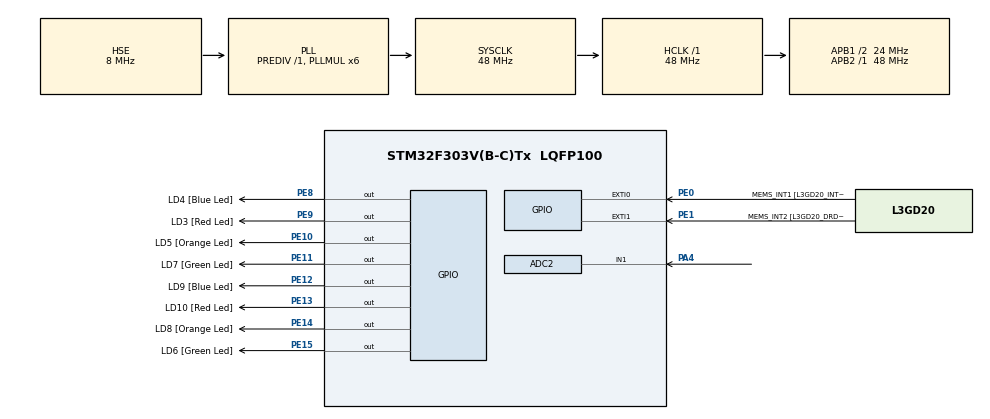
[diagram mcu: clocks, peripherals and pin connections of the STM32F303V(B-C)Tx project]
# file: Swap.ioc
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ADC2.Channel-0\#ChannelRegularConversion=ADC_CHANNEL_1
ADC2.NbrOfConversion=1
ADC2.NbrOfConversionFlag=1
ADC2.Offset-0\#ChannelRegularConversion=0
ADC2.OffsetNumber-0\#ChannelRegularConversion=ADC_OFFSET_NONE
ADC2.Rank-0\#ChannelRegularConversion=1
ADC2.SamplingTime-0\#ChannelRegularConversion=ADC_SAMPLETIME_1CYCLE_5
ADC2.SamplingTimeOPAMP-0\#ChannelRegularConversion=ADC_SAMPLETIME_19CYCLES_5
Mcu.Family=STM32F3
Mcu.Name=STM32F303V(B-C)Tx
Mcu.Package=LQFP100
NVIC.ADC1_2_IRQn=true\:0\:0\:false\:false\:true\:true\:true\:true
NVIC.PriorityGroup=NVIC_PRIORITYGROUP_0
PA4.Mode=IN1-Single-Ended
PA4.Signal=ADC2_IN1
PB3.GPIO_Label=SWO
PB3.Signal=SYS_JTDO-TRACESWO
PB6.GPIO_Label=I2C1_SCL [LSM303DLHC_SCL]
PB6.GPIO_Pu=GPIO_PULLUP
PB6.Signal=I2C1_SCL
PB7.GPIO_Label=I2C1_SDA [LSM303DLHC_SDA]
PB7.GPIO_Pu=GPIO_PULLUP
PB7.Signal=I2C1_SDA
PC14-OSC32_IN.GPIO_Label=OSC32_IN
PC14-OSC32_IN.Signal=RCC_OSC32_IN
PC15-OSC32_OUT.GPIO_Label=OSC32_OUT
PC15-OSC32_OUT.Signal=RCC_OSC32_OUT
PE0.GPIO_Label=MEMS_INT1 [L3GD20_INT1]
PE0.GPIO_ModeDefaultEXTI=GPIO_MODE_EVT_RISING
PE0.Signal=GPXTI0
PE1.GPIO_Label=MEMS_INT2 [L3GD20_DRDY/INT2]
PE1.GPIO_ModeDefaultEXTI=GPIO_MODE_EVT_RISING
PE1.Signal=GPXTI1
PE10.GPIO_Label=LD5 [Orange Led]
PE10.Signal=GPIO_Output
PE11.GPIO_Label=LD7 [Green Led]
PE11.Signal=GPIO_Output
PE12.GPIO_Label=LD9 [Blue Led]
PE12.Signal=GPIO_Output
PE13.GPIO_Label=LD10 [Red Led]
PE13.Signal=GPIO_Output
PE14.GPIO_Label=LD8 [Orange Led]
PE14.Signal=GPIO_Output
PE15.GPIO_Label=LD6 [Green Led]
PE15.Signal=GPIO_Output
PE8.GPIO_Label=LD4 [Blue Led]
PE8.Signal=GPIO_Output
PE9.GPIO_Label=LD3 [Red Led]
PE9.Signal=GPIO_Output
PF0-OSC_IN.GPIO_Label=OSC_IN
PF0-OSC_IN.Mode=HSE-External-Oscillator
PF0-OSC_IN.Signal=RCC_OSC_IN
PF1-OSC_OUT.GPIO_Label=OSC_OUT
PF1-OSC_OUT.Mode=HSE-External-Oscillator
PF1-OSC_OUT.Signal=RCC_OSC_OUT
ProjectManager.HeapSize=0x200
ProjectManager.StackSize=0x400
ProjectManager.TargetToolchain=STM32CubeIDE
RCC.AHBFreq_Value=48000000
RCC.APB1CLKDivider=RCC_HCLK_DIV2
RCC.APB1Freq_Value=24000000
RCC.APB1TimFreq_Value=48000000
RCC.APB2Freq_Value=48000000
RCC.APB2TimFreq_Value=48000000
RCC.CortexFreq_Value=48000000
RCC.HCLKFreq_Value=48000000
RCC.HSE_VALUE=8000000
RCC.HSI_VALUE=8000000
RCC.LSE_VALUE=32768
RCC.PLLMUL=RCC_PLL_MUL6
RCC.PLLSourceVirtual=RCC_PLLSOURCE_HSE
RCC.SYSCLKFreq_VALUE=48000000
RCC.SYSCLKSourceVirtual=RCC_SYSCLKSOURCE_PLLCLK
RCC.USBFreq_Value=48000000
board=STM32F3DISCOVERY

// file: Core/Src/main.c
/* USER CODE BEGIN Header */
/**
  ******************************************************************************
  * @file           : main.c
  * @brief          : Main program body
  ******************************************************************************
  * @attention
  *
  * Copyright (c) 2023 STMicroelectronics.
  * All rights reserved.
  *
  * This software is licensed under terms that can be found in the LICENSE file
  * in the root directory of this software component.
  * If no LICENSE file comes with this software, it is provided AS-IS.
  *
  ******************************************************************************
  */
/* USER CODE END Header */
#include "main.h"
#include "stdio.h"
#include <stdlib.h>
#include "serial.h"
#include "data_handler.h"
#include "led.h"

ADC_HandleTypeDef hadc2;

/* USER CODE BEGIN PV */
uint32_t weight;
uint8_t ra = 0;
uint8_t check = 0;
uint8_t fail = 0;

uint8_t string[100];

/* USER CODE END PV */

void SystemClock_Config(void);
static void MX_GPIO_Init(void);
static void MX_ADC2_Init(void);

int main(void)
{

  /* MCU Configuration--------------------------------------------------------*/

  /* Reset of all peripherals, Initializes the Flash interface and the Systick. */
  HAL_Init();

  /* USER CODE BEGIN Init */
  SerialInitialise(BAUD_115200, &USART1_PORT, 0x00);
  //enable_interrupts_RX();
  /* USER CODE END Init */

  /* Configure the system clock */
  SystemClock_Config();

  /* Initialize all configured peripherals */
  MX_GPIO_Init();
  MX_ADC2_Init();
  /* USER CODE BEGIN 2 */
  HAL_ADC_Start_IT(&hadc2);
  uint8_t *led_register = ((uint8_t*)&(GPIOE->ODR)) + 1;
  *led_register = 0b00000000;
  /* USER CODE END 2 */

  /* Infinite loop */
  while (1)
  {

    /* USER CODE BEGIN 3 */
	  //void disable_interrupts_RX();
	  if (check > 0)
	  {
	  		  HAL_Delay(1000);
	  }

	  if (fail == 0)
	  {
		  HAL_ADC_Start_IT(&hadc2);
	  }
	  if (fail == 1){
		  sprintf(string,"AA5520!");
		  SerialOutputString(string, &USART1_PORT);

	  }

  }
  /* USER CODE END 3 */
}

void SystemClock_Config(void)
{
  RCC_OscInitTypeDef RCC_OscInitStruct = {0};
  RCC_ClkInitTypeDef RCC_ClkInitStruct = {0};
  RCC_PeriphCLKInitTypeDef PeriphClkInit = {0};

  /** Initializes the RCC Oscillators according to the specified parameters
  * in the RCC_OscInitTypeDef structure.
  */
  RCC_OscInitStruct.OscillatorType = RCC_OSCILLATORTYPE_HSE;
  RCC_OscInitStruct.HSEState = RCC_HSE_ON;
  RCC_OscInitStruct.HSEPredivValue = RCC_HSE_PREDIV_DIV1;
  RCC_OscInitStruct.HSIState = RCC_HSI_ON;
  RCC_OscInitStruct.PLL.PLLState = RCC_PLL_ON;
  RCC_OscInitStruct.PLL.PLLSource = RCC_PLLSOURCE_HSE;
  RCC_OscInitStruct.PLL.PLLMUL = RCC_PLL_MUL6;
  if (HAL_RCC_OscConfig(&RCC_OscInitStruct) != HAL_OK)
  {
    Error_Handler();
  }

  /** Initializes the CPU, AHB and APB buses clocks
  */
  RCC_ClkInitStruct.ClockType = RCC_CLOCKTYPE_HCLK|RCC_CLOCKTYPE_SYSCLK
                              |RCC_CLOCKTYPE_PCLK1|RCC_CLOCKTYPE_PCLK2;
  RCC_ClkInitStruct.SYSCLKSource = RCC_SYSCLKSOURCE_PLLCLK;
  RCC_ClkInitStruct.AHBCLKDivider = RCC_SYSCLK_DIV1;
  RCC_ClkInitStruct.APB1CLKDivider = RCC_HCLK_DIV2;
  RCC_ClkInitStruct.APB2CLKDivider = RCC_HCLK_DIV1;

  if (HAL_RCC_ClockConfig(&RCC_ClkInitStruct, FLASH_LATENCY_1) != HAL_OK)
  {
    Error_Handler();
  }
  PeriphClkInit.PeriphClockSelection = RCC_PERIPHCLK_ADC12;
  PeriphClkInit.Adc12ClockSelection = RCC_ADC12PLLCLK_DIV1;
  if (HAL_RCCEx_PeriphCLKConfig(&PeriphClkInit) != HAL_OK)
  {
    Error_Handler();
  }
}

static void MX_ADC2_Init(void)
{

  ADC_ChannelConfTypeDef sConfig = {0};

  /** Common config
  */
  hadc2.Instance = ADC2;
  hadc2.Init.ClockPrescaler = ADC_CLOCK_ASYNC_DIV1;
  hadc2.Init.Resolution = ADC_RESOLUTION_12B;
  hadc2.Init.ScanConvMode = ADC_SCAN_DISABLE;
  hadc2.Init.ContinuousConvMode = DISABLE;
  hadc2.Init.DiscontinuousConvMode = DISABLE;
  hadc2.Init.ExternalTrigConvEdge = ADC_EXTERNALTRIGCONVEDGE_NONE;
  hadc2.Init.ExternalTrigConv = ADC_SOFTWARE_START;
  hadc2.Init.DataAlign = ADC_DATAALIGN_RIGHT;
  hadc2.Init.NbrOfConversion = 1;
  hadc2.Init.DMAContinuousRequests = DISABLE;
  hadc2.Init.EOCSelection = ADC_EOC_SINGLE_CONV;
  hadc2.Init.LowPowerAutoWait = DISABLE;
  hadc2.Init.Overrun = ADC_OVR_DATA_OVERWRITTEN;
  if (HAL_ADC_Init(&hadc2) != HAL_OK)
  {
    Error_Handler();
  }

  /** Configure Regular Channel
  */
  sConfig.Channel = ADC_CHANNEL_1;
  sConfig.Rank = ADC_REGULAR_RANK_1;
  sConfig.SingleDiff = ADC_SINGLE_ENDED;
  sConfig.SamplingTime = ADC_SAMPLETIME_1CYCLE_5;
  sConfig.OffsetNumber = ADC_OFFSET_NONE;
  sConfig.Offset = 0;
  if (HAL_ADC_ConfigChannel(&hadc2, &sConfig) != HAL_OK)
  {
    Error_Handler();
  }

}

static void MX_GPIO_Init(void)
{
  GPIO_InitTypeDef GPIO_InitStruct = {0};

  /* GPIO Ports Clock Enable */
  __HAL_RCC_GPIOC_CLK_ENABLE();
  __HAL_RCC_GPIOF_CLK_ENABLE();
  __HAL_RCC_GPIOA_CLK_ENABLE();
  __HAL_RCC_GPIOE_CLK_ENABLE();
  __HAL_RCC_GPIOB_CLK_ENABLE();

  /*Configure GPIO pin Output Level */
  HAL_GPIO_WritePin(GPIOE, LD4_Pin|LD3_Pin|LD5_Pin|LD7_Pin
                          |LD9_Pin|LD10_Pin|LD8_Pin|LD6_Pin, GPIO_PIN_RESET);

  /*Configure GPIO pins : LD4_Pin LD3_Pin LD5_Pin LD7_Pin
                           LD9_Pin LD10_Pin LD8_Pin LD6_Pin */
  GPIO_InitStruct.Pin = LD4_Pin|LD3_Pin|LD5_Pin|LD7_Pin
                          |LD9_Pin|LD10_Pin|LD8_Pin|LD6_Pin;
  GPIO_InitStruct.Mode = GPIO_MODE_OUTPUT_PP;
  GPIO_InitStruct.Pull = GPIO_NOPULL;
  GPIO_InitStruct.Speed = GPIO_SPEED_FREQ_LOW;
  HAL_GPIO_Init(GPIOE, &GPIO_InitStruct);

  /*Configure GPIO pins : I2C1_SCL_Pin I2C1_SDA_Pin */
  GPIO_InitStruct.Pin = I2C1_SCL_Pin|I2C1_SDA_Pin;
  GPIO_InitStruct.Mode = GPIO_MODE_AF_OD;
  GPIO_InitStruct.Pull = GPIO_PULLUP;
  GPIO_InitStruct.Speed = GPIO_SPEED_FREQ_HIGH;
  GPIO_InitStruct.Alternate = GPIO_AF4_I2C1;
  HAL_GPIO_Init(GPIOB, &GPIO_InitStruct);

  /*Configure GPIO pins : MEMS_INT1_Pin MEMS_INT2_Pin */
  GPIO_InitStruct.Pin = MEMS_INT1_Pin|MEMS_INT2_Pin;
  GPIO_InitStruct.Mode = GPIO_MODE_EVT_RISING;
  GPIO_InitStruct.Pull = GPIO_NOPULL;
  HAL_GPIO_Init(GPIOE, &GPIO_InitStruct);

}

/* USER CODE BEGIN 4 */

void HAL_ADC_ConvCpltCallback(ADC_HandleTypeDef* h)
{

	if (h == &hadc2)
	{
		uint8_t *led_register = ((uint8_t*)&(GPIOE->ODR)) + 1;
		weight = HAL_ADC_GetValue(&hadc2);
		if (weight > 3000)
		{
			*led_register = 0b00000000;
			check = 0;
		}
		else
		{
			if (check > 0)
			{
				*led_register = 0b11111111;
				fail = 1;
				sprintf(string,"AA5520!");
			    SerialOutputString(string, &USART1_PORT);

			}
			else
			{
				check++;
				*led_register = 0b00000001;
			}

		}

	}
}
/*
void HAL_UART_RxCpltCallback(UART_HandleTypeDef *huart)
{
    HAL_UART_Transmit(&huart1, UART1_rxBuffer, 12, 100);
    HAL_UART_Receive_IT(&huart1, UART1_rxBuffer, 12);
}
*/
/* USER CODE END 4 */

void Error_Handler(void)
{
  __disable_irq();
  while (1)
  {
  }
}
